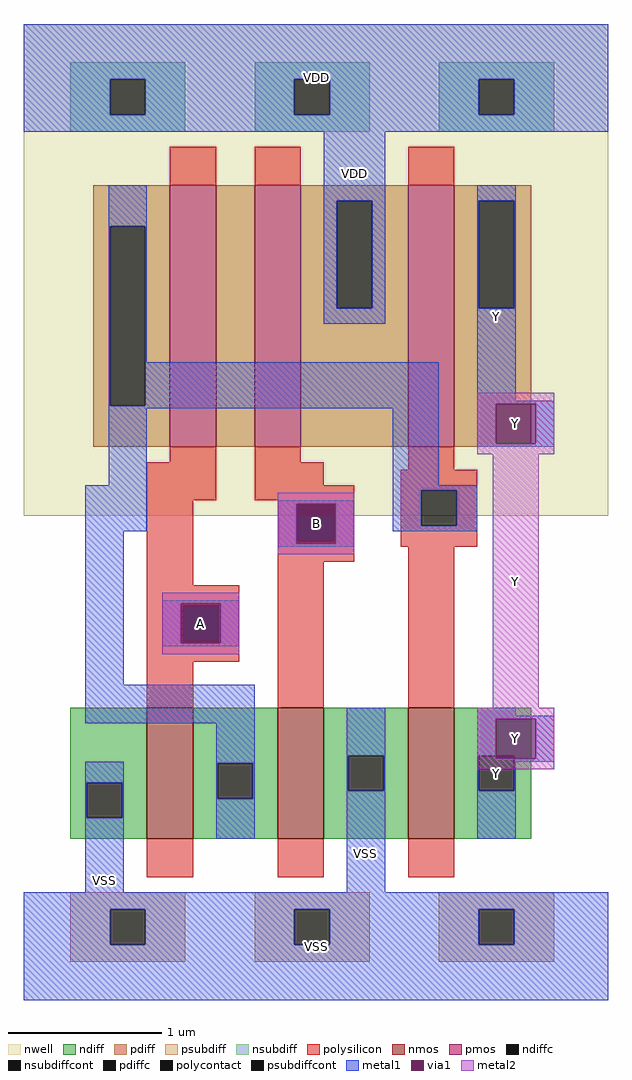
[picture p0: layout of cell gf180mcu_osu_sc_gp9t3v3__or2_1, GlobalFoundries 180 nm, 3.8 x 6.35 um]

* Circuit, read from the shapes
.subckt gf180mcu_osu_sc_gp9t3v3__or2_1 A B Y VDD VSS
XM1 n1 A VSS VSS nfet_03v3 w=0.85u l=0.3u
XM2 VSS B n1 VSS nfet_03v3 w=0.85u l=0.3u
XM3 Y n1 VSS VSS nfet_03v3 w=0.85u l=0.3u
XM4 n2 A n1 VDD pfet_03v3 w=1.7u l=0.3u
XM5 VDD B n2 VDD pfet_03v3 w=1.7u l=0.3u
XM6 Y n1 VDD VDD pfet_03v3 w=1.7u l=0.3u
.ends

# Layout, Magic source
magic
tech gf180mcuA
magscale 1 10
<< nwell >>
rect 0 630 760 1270
<< nmos >>
rect 160 210 220 380
rect 330 210 390 380
rect 500 210 560 380
<< pmos >>
rect 190 720 250 1060
rect 300 720 360 1060
rect 500 720 560 1060
<< ndiff >>
rect 60 283 160 380
rect 60 237 82 283
rect 128 237 160 283
rect 60 210 160 237
rect 220 308 330 380
rect 220 262 252 308
rect 298 262 330 308
rect 220 210 330 262
rect 390 318 500 380
rect 390 272 422 318
rect 468 272 500 318
rect 390 210 500 272
rect 560 318 660 380
rect 560 272 592 318
rect 638 272 660 318
rect 560 210 660 272
<< pdiff >>
rect 90 1007 190 1060
rect 90 773 112 1007
rect 158 773 190 1007
rect 90 720 190 773
rect 250 720 300 1060
rect 360 1040 500 1060
rect 360 900 407 1040
rect 453 900 500 1040
rect 360 720 500 900
rect 560 1040 660 1060
rect 560 900 592 1040
rect 638 900 660 1040
rect 560 720 660 900
<< ndiffc >>
rect 82 237 128 283
rect 252 262 298 308
rect 422 272 468 318
rect 592 272 638 318
<< pdiffc >>
rect 112 773 158 1007
rect 407 900 453 1040
rect 592 900 638 1040
<< psubdiff >>
rect 60 118 210 140
rect 60 72 112 118
rect 158 72 210 118
rect 60 50 210 72
rect 300 118 450 140
rect 300 72 352 118
rect 398 72 450 118
rect 300 50 450 72
rect 540 118 690 140
rect 540 72 592 118
rect 638 72 690 118
rect 540 50 690 72
<< nsubdiff >>
rect 60 1198 210 1220
rect 60 1152 112 1198
rect 158 1152 210 1198
rect 60 1130 210 1152
rect 300 1198 450 1220
rect 300 1152 352 1198
rect 398 1152 450 1198
rect 300 1130 450 1152
rect 540 1198 690 1220
rect 540 1152 592 1198
rect 638 1152 690 1198
rect 540 1130 690 1152
<< psubdiffcont >>
rect 112 72 158 118
rect 352 72 398 118
rect 592 72 638 118
<< nsubdiffcont >>
rect 112 1152 158 1198
rect 352 1152 398 1198
rect 592 1152 638 1198
<< polysilicon >>
rect 190 1060 250 1110
rect 300 1060 360 1110
rect 500 1060 560 1110
rect 190 700 250 720
rect 160 650 250 700
rect 300 700 360 720
rect 300 670 390 700
rect 500 690 560 720
rect 300 650 430 670
rect 160 540 220 650
rect 330 643 430 650
rect 330 597 357 643
rect 403 597 430 643
rect 330 570 430 597
rect 490 663 590 690
rect 490 617 517 663
rect 563 617 590 663
rect 490 590 590 617
rect 160 513 280 540
rect 160 467 207 513
rect 253 467 280 513
rect 160 440 280 467
rect 160 380 220 440
rect 330 380 390 570
rect 500 380 560 590
rect 160 160 220 210
rect 330 160 390 210
rect 500 160 560 210
<< polycontact >>
rect 357 597 403 643
rect 517 617 563 663
rect 207 467 253 513
<< metal1 >>
rect 0 1198 760 1270
rect 0 1152 112 1198
rect 158 1152 352 1198
rect 398 1152 592 1198
rect 638 1152 760 1198
rect 0 1130 760 1152
rect 110 1007 160 1060
rect 110 773 112 1007
rect 158 830 160 1007
rect 390 1040 470 1130
rect 390 900 407 1040
rect 453 900 470 1040
rect 390 880 470 900
rect 590 1040 640 1060
rect 590 900 592 1040
rect 638 900 640 1040
rect 158 773 540 830
rect 110 770 540 773
rect 110 670 160 770
rect 80 610 160 670
rect 480 670 540 770
rect 590 780 640 900
rect 590 776 690 780
rect 590 724 614 776
rect 666 724 690 776
rect 590 720 690 724
rect 480 663 590 670
rect 330 646 430 650
rect 80 410 130 610
rect 330 594 354 646
rect 406 594 430 646
rect 480 617 517 663
rect 563 617 590 663
rect 480 610 590 617
rect 330 590 430 594
rect 180 516 280 520
rect 180 464 204 516
rect 256 464 280 516
rect 180 460 280 464
rect 80 360 300 410
rect 80 283 130 310
rect 80 237 82 283
rect 128 237 130 283
rect 80 140 130 237
rect 250 308 300 360
rect 250 262 252 308
rect 298 262 300 308
rect 250 210 300 262
rect 420 318 470 380
rect 420 272 422 318
rect 468 272 470 318
rect 420 140 470 272
rect 590 370 640 380
rect 590 366 690 370
rect 590 318 614 366
rect 590 272 592 318
rect 666 314 690 366
rect 638 310 690 314
rect 638 272 640 310
rect 590 210 640 272
rect 0 118 760 140
rect 0 72 112 118
rect 158 72 352 118
rect 398 72 592 118
rect 638 72 760 118
rect 0 0 760 72
<< via1 >>
rect 614 724 666 776
rect 354 643 406 646
rect 354 597 357 643
rect 357 597 403 643
rect 403 597 406 643
rect 354 594 406 597
rect 204 513 256 516
rect 204 467 207 513
rect 207 467 253 513
rect 253 467 256 513
rect 204 464 256 467
rect 614 318 666 366
rect 614 314 638 318
rect 638 314 666 318
<< metal2 >>
rect 590 776 690 790
rect 590 724 614 776
rect 666 724 690 776
rect 590 710 690 724
rect 330 646 430 660
rect 330 594 354 646
rect 406 594 430 646
rect 330 580 430 594
rect 180 516 280 530
rect 180 464 204 516
rect 256 464 280 516
rect 180 450 280 464
rect 610 380 670 710
rect 590 366 690 380
rect 590 314 614 366
rect 666 314 690 366
rect 590 300 690 314
<< labels >>
rlabel via1 s 204 464 256 516 4 A
port 1 nsew signal input
rlabel via1 s 354 594 406 646 4 B
port 2 nsew signal input
rlabel via1 s 614 314 666 366 4 Y
port 3 nsew signal output
rlabel metal1 s 390 880 470 1270 4 VDD
port 4 nsew power bidirectional abutment
rlabel metal1 s 80 0 130 310 4 VSS
port 5 nsew ground bidirectional abutment
rlabel metal1 s 0 1130 760 1270 1 VDD
port 4 nsew power bidirectional abutment
rlabel metal1 s 420 0 470 380 1 VSS
port 5 nsew ground bidirectional abutment
rlabel metal1 s 0 0 760 140 1 VSS
port 5 nsew ground bidirectional abutment
rlabel metal2 s 180 450 280 530 1 A
port 1 nsew signal input
rlabel metal1 s 180 460 280 520 1 A
port 1 nsew signal input
rlabel metal2 s 330 580 430 660 1 B
port 2 nsew signal input
rlabel metal1 s 330 590 430 650 1 B
port 2 nsew signal input
rlabel via1 s 614 724 666 776 1 Y
port 3 nsew signal output
rlabel metal2 s 610 300 670 790 1 Y
port 3 nsew signal output
rlabel metal2 s 590 300 690 380 1 Y
port 3 nsew signal output
rlabel metal2 s 590 710 690 790 1 Y
port 3 nsew signal output
rlabel metal1 s 590 720 640 1060 1 Y
port 3 nsew signal output
rlabel metal1 s 590 720 690 780 1 Y
port 3 nsew signal output
rlabel metal1 s 590 210 640 380 1 Y
port 3 nsew signal output
rlabel metal1 s 590 310 690 370 1 Y
port 3 nsew signal output
<< properties >>
string FIXED_BBOX 0 0 760 1270
string GDS_END 360434
string GDS_FILE $PDKPATH/libs.ref/gf180mcu_osu_sc_gp9t3v3/gds/gf180mcu_osu_sc_gp9t3v3.gds
string GDS_START 354860
string LEFclass CORE
string LEFsite gf180mcu_osu_sc_gp9t3v3
string LEFsymmetry X Y
<< end >>
